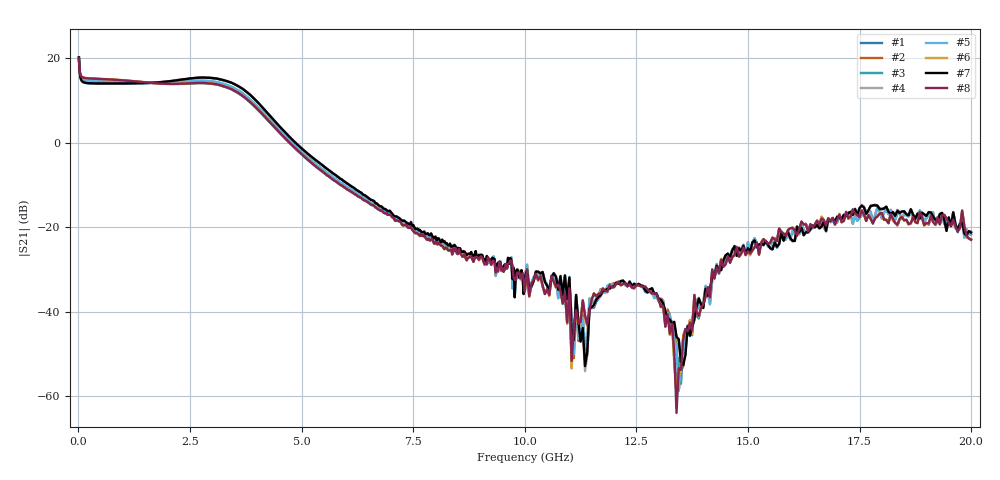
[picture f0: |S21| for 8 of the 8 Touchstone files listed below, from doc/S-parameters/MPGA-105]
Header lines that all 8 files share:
!Mini-Circuits Laboratory
!S-Parameters
!Model: MPGA-105+
!Run / Lot / Date Code: NA / BP384P001-05 / 1348
!Fixture: NA; TB-561+
!AUTO PORT EXTENSION DONE: PORT<1>=113.35ps; PORT<2>=112.76ps; PORT<3>=112.16ps; PORT<4>=112.11ps
!Network Analyzer: PNA-X N5242A - 423 4 ports;  Serial number: 71256
!Date: 2/15/2014
!S/N: Unit# 1
!Correction: S11(Full 4 Port(1,2,3,4))
!S12(Full 4 Port(1,2,3,4))
!S13(Full 4 Port(1,2,3,4))
!S14(Full 4 Port(1,2,3,4))
!S21(Full 4 Port(1,2,3,4))
!S22(Full 4 Port(1,2,3,4))
!S23(Full 4 Port(1,2,3,4))
!S24(Full 4 Port(1,2,3,4))
!S31(Full 4 Port(1,2,3,4))
!S32(Full 4 Port(1,2,3,4))
!S33(Full 4 Port(1,2,3,4))
!S34(Full 4 Port(1,2,3,4))
!S41(Full 4 Port(1,2,3,4))
!S42(Full 4 Port(1,2,3,4))
!S43(Full 4 Port(1,2,3,4))
!S44(Full 4 Port(1,2,3,4))
!S4P File: Measurements: <S11,S12,S13,S14>,
!<S21,S22,S23,S24>,
!<S31,S32,S33,S34>,
!<S41,S42,S43,S44>:
# Hz S  dB  R 50
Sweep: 10 MHz to 20 GHz
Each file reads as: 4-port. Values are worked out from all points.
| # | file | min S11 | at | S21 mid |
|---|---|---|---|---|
| 1 | MPGA-105+_4.75V_Minus45DegC_Unit1.s4p | -24.1 dB | 260 MHz | -15.1 dB at 6.775 GHz |
| 2 | MPGA-105+_4.75V_Plus25DegC_Unit1.s4p | -25.5 dB | 430 MHz | -15.8 dB at 6.775 GHz |
| 3 | MPGA-105+_4.75V_Plus85DegC_Unit1.s4p | -26.2 dB | 3.375 GHz | -16.2 dB at 6.775 GHz |
| 4 | MPGA-105+_5.25V_Minus45DegC_Unit1.s4p | -23.8 dB | 260 MHz | -15.1 dB at 6.775 GHz |
| 5 | MPGA-105+_5.25V_Plus25DegC_Unit1.s4p | -25.6 dB | 420 MHz | -15.7 dB at 6.775 GHz |
| 6 | MPGA-105+_5.25V_Plus85DegC_Unit1.s4p | -25.4 dB | 3.4 GHz | -16.1 dB at 6.775 GHz |
| 7 | MPGA-105+_5V_Minus45DegC_Unit1.s4p | -23.9 dB | 270 MHz | -15.1 dB at 6.775 GHz |
| 8 | MPGA-105+_5V_Plus85DegC_Unit1.s4p | -25.6 dB | 3.4 GHz | -16.1 dB at 6.775 GHz |
